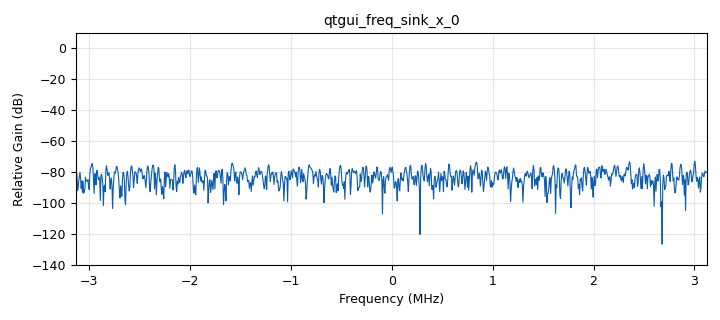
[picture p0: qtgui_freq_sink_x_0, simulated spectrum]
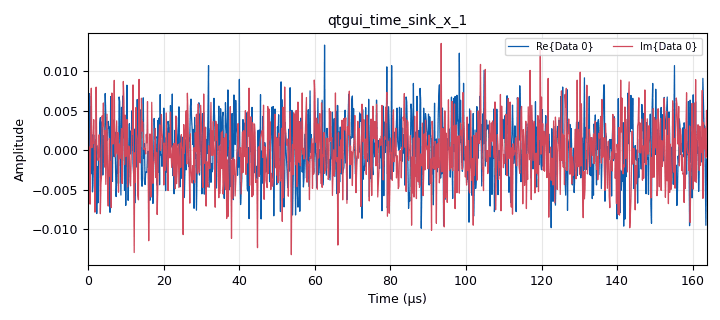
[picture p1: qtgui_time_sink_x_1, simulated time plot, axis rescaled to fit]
options:
  parameters:
    author: Barrios-Jimenez
    copyright: Uis
    generate_options: qt_gui
    id: Transmisor_H1
    output_language: python
    title: Transmisor_H1
  states: {}

blocks:
- name: GTX
  id: variable_qtgui_range
  parameters:
    label: Ganancia T
    start: '0'
    step: '1'
    stop: '30'
    value: '6'
  states: {}
- name: 'NO'
  id: variable_qtgui_range
  parameters:
    start: '1e-6'
    step: '1e-6'
    stop: '500e-3'
    value: 0.1/18
  states: {}
- name: fc
  id: variable_qtgui_range
  parameters:
    label: frecuencia central
    start: 50e6
    step: 1e6
    stop: 2.2e9
    value: (18)*50e6
  states: {}
- name: samp_rate
  id: variable
  parameters:
    value: 12500000/2
  states: {}
- name: analog_noise_source_x_0
  id: analog_noise_source_x
  parameters:
    amp: 'NO'
    noise_type: analog.GR_GAUSSIAN
    seed: '0'
    type: complex
  states: {}
- name: analog_sig_source_x_0
  id: analog_sig_source_x
  parameters:
    amp: '0.1'
    freq: samp_rate/4
    offset: '0'
    phase: '0'
    samp_rate: samp_rate
    type: complex
    waveform: analog.GR_COS_WAVE
  states: {state: disabled}
- name: blocks_add_xx_0
  id: blocks_add_xx
  parameters:
    type: complex
  states: {state: disabled}
- name: blocks_throttle_0
  id: blocks_throttle
  parameters:
    samples_per_second: samp_rate
    type: complex
  states: {}
- name: qtgui_freq_sink_x_0
  id: qtgui_freq_sink_x
  parameters:
    bw: samp_rate
    fc: '0'
    fftsize: '1024'
    type: complex
  states: {}
- name: qtgui_time_sink_x_1
  id: qtgui_time_sink_x
  parameters:
    size: '1024'
    srate: samp_rate
    type: complex
  states: {}
- name: uhd_usrp_sink_0
  id: uhd_usrp_sink
  parameters:
    ant0: '"TX/RX"'
    center_freq0: fc
    gain0: GTX
    samp_rate: samp_rate
    sync: pc_clock
    type: fc32
  states: {}

connections:
- [analog_noise_source_x_0, '0', blocks_add_xx_0, '1']
- [analog_noise_source_x_0, '0', blocks_throttle_0, '0']
- [analog_sig_source_x_0, '0', blocks_add_xx_0, '0']
- [blocks_add_xx_0, '0', blocks_throttle_0, '0']
- [blocks_throttle_0, '0', qtgui_freq_sink_x_0, '0']
- [blocks_throttle_0, '0', qtgui_time_sink_x_1, '0']
- [blocks_throttle_0, '0', uhd_usrp_sink_0, '0']

metadata:
  file_format: 1
